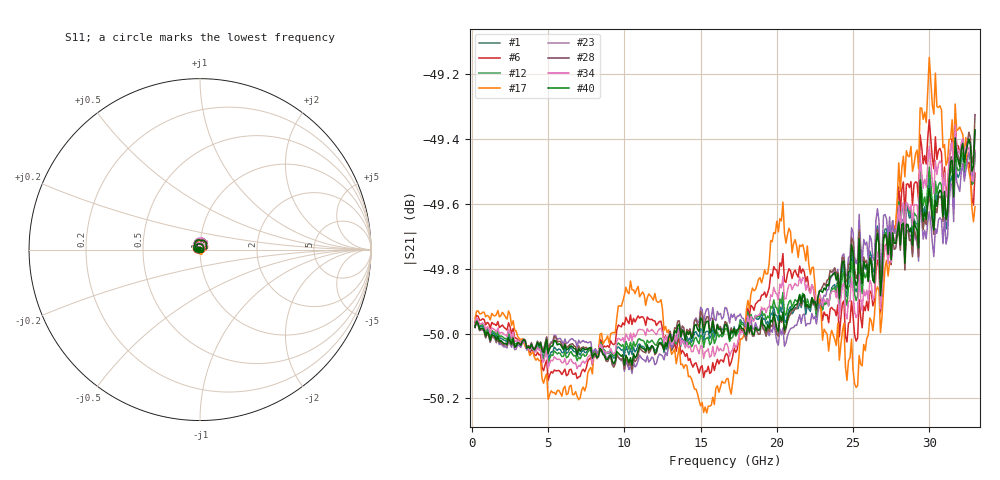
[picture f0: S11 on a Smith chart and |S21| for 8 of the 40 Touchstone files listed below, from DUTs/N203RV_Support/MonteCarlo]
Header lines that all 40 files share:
# GHZ S RI R 50
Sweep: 200 MHz to 33 GHz
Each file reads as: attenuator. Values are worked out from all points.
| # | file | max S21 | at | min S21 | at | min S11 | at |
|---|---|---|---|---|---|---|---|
| 1 | N203RV_1.s2p | -49.44 dB | 31.7 GHz | -50.1 dB | 5 GHz | -46.4 dB | 13.3 GHz |
| 2 | N203RV_4.s2p | -49.43 dB | 32.5 GHz | -50.1 dB | 7.9 GHz | -50.6 dB | 12.2 GHz |
| 3 | N203RV_6.s2p | -49.45 dB | 31.7 GHz | -50.1 dB | 5 GHz | -50.2 dB | 12.6 GHz |
| 4 | N203RV_13.s2p | -49.43 dB | 33 GHz | -50.1 dB | 10.3 GHz | -48.5 dB | 12.7 GHz |
| 5 | N203RV_15.s2p | -49.25 dB | 30 GHz | -50.2 dB | 15.2 GHz | -56.3 dB | 12.5 GHz |
| 6 | N203RV_17.s2p | -49.34 dB | 30 GHz | -50.1 dB | 5 GHz | -50.9 dB | 12 GHz |
| 7 | N203RV_20.s2p | -49.34 dB | 33 GHz | -50.1 dB | 10 GHz | -50.5 dB | 11.9 GHz |
| 8 | N203RV_22.s2p | -49.41 dB | 33 GHz | -50.1 dB | 9.3 GHz | -51.2 dB | 24 GHz |
| 9 | N203RV_23.s2p | -49.39 dB | 33 GHz | -50.1 dB | 10.5 GHz | -49.1 dB | 11.9 GHz |
| 10 | N203RV_25.s2p | -49.36 dB | 31.7 GHz | -50.1 dB | 5 GHz | -49.5 dB | 12 GHz |
| 11 | N203RV_26.s2p | -49.41 dB | 33 GHz | -50.1 dB | 10 GHz | -49.1 dB | 12.4 GHz |
| 12 | N203RV_30.s2p | -49.42 dB | 31.7 GHz | -50.1 dB | 5 GHz | -47.0 dB | 13.3 GHz |
| 13 | N203RV_35.s2p | -49.43 dB | 33 GHz | -50.1 dB | 10.5 GHz | -50.2 dB | 24 GHz |
| 14 | N203RV_36.s2p | -49.44 dB | 32.5 GHz | -50.1 dB | 9.3 GHz | -51.0 dB | 12.2 GHz |
| 15 | N203RV_41.s2p | -49.35 dB | 30 GHz | -50.1 dB | 5 GHz | -48.1 dB | 12.5 GHz |
| 16 | N203RV_42.s2p | -49.43 dB | 31.7 GHz | -50.1 dB | 5 GHz | -46.3 dB | 13.3 GHz |
| 17 | N203RV_43.s2p | -49.15 dB | 30 GHz | -50.2 dB | 15.4 GHz | -56.6 dB | 12.1 GHz |
| 18 | N203RV_45.s2p | -49.44 dB | 33 GHz | -50.1 dB | 10.5 GHz | -49.7 dB | 12.4 GHz |
| 19 | N203RV_50.s2p | -49.33 dB | 33 GHz | -50.1 dB | 10.5 GHz | -52.9 dB | 11.9 GHz |
| 20 | N203RV_51.s2p | -49.38 dB | 33 GHz | -50.1 dB | 10 GHz | -47.5 dB | 24 GHz |
| 21 | N203RV_52.s2p | -49.49 dB | 32.4 GHz | -50.1 dB | 5 GHz | -47.3 dB | 12.6 GHz |
| 22 | N203RV_56.s2p | -49.32 dB | 30 GHz | -50.1 dB | 5 GHz | -50.1 dB | 12.1 GHz |
| 23 | N203RV_57.s2p | -49.38 dB | 33 GHz | -50.1 dB | 10.5 GHz | -52.9 dB | 24.1 GHz |
| 24 | N203RV_58.s2p | -49.41 dB | 32.5 GHz | -50.1 dB | 10.3 GHz | -53.5 dB | 12.6 GHz |
| 25 | N203RV_59.s2p | -49.34 dB | 30 GHz | -50.1 dB | 5 GHz | -49.6 dB | 13.5 GHz |
| 26 | N203RV_60.s2p | -49.46 dB | 32.5 GHz | -50.1 dB | 5 GHz | -50.3 dB | 12.5 GHz |
| 27 | N203RV_61.s2p | -49.36 dB | 33 GHz | -50.1 dB | 10.5 GHz | -48.1 dB | 12.2 GHz |
| 28 | N203RV_66.s2p | -49.32 dB | 33 GHz | -50.1 dB | 10.5 GHz | -50.6 dB | 11.9 GHz |
| 29 | N203RV_70.s2p | -49.41 dB | 33 GHz | -50.1 dB | 10 GHz | -49.9 dB | 12.3 GHz |
| 30 | N203RV_76.s2p | -49.32 dB | 30 GHz | -50.1 dB | 5 GHz | -51.5 dB | 12.1 GHz |
| 31 | N203RV_79.s2p | -49.42 dB | 33 GHz | -50.1 dB | 10.5 GHz | -51.5 dB | 24.1 GHz |
| 32 | N203RV_80.s2p | -49.31 dB | 30 GHz | -50.2 dB | 5 GHz | -53.2 dB | 12.5 GHz |
| 33 | N203RV_84.s2p | -49.41 dB | 33 GHz | -50.1 dB | 10.5 GHz | -48.8 dB | 12.4 GHz |
| 34 | N203RV_85.s2p | -49.36 dB | 31.7 GHz | -50.1 dB | 6.9 GHz | -48.9 dB | 12 GHz |
| 35 | N203RV_86.s2p | -49.46 dB | 32.5 GHz | -50.1 dB | 11.4 GHz | -54.8 dB | 12.6 GHz |
| 36 | N203RV_88.s2p | -49.44 dB | 33 GHz | -50.1 dB | 5 GHz | -49.2 dB | 12.4 GHz |
| 37 | N203RV_89.s2p | -49.36 dB | 31.7 GHz | -50.1 dB | 5 GHz | -47.4 dB | 12.5 GHz |
| 38 | N203RV_92.s2p | -49.22 dB | 30 GHz | -50.2 dB | 15.2 GHz | -52.3 dB | 13.5 GHz |
| 39 | N203RV_94.s2p | -49.42 dB | 32.5 GHz | -50.1 dB | 10 GHz | -50.0 dB | 12.6 GHz |
| 40 | N203RV_97.s2p | -49.37 dB | 33 GHz | -50.1 dB | 10.5 GHz | -48.8 dB | 12.4 GHz |
